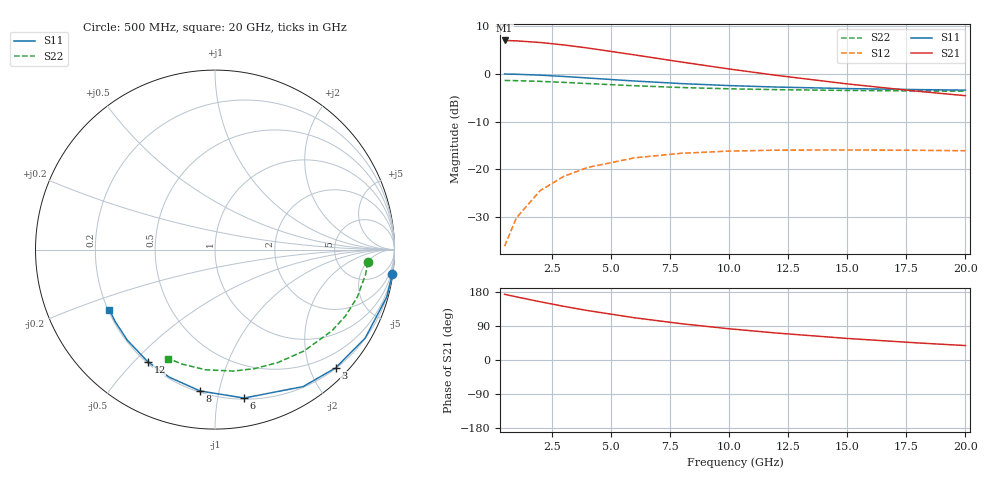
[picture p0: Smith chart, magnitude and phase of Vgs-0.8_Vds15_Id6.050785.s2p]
# Hz S RI R 50
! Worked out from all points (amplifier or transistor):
!   12 points, 500 MHz to 20 GHz, reference 50 ohm
!   highest |S21| = 7.0 dB at 500 MHz (marker M1)
!   |S21| within 3 dB of that: start of sweep to 5.967 GHz
!   unconditionally stable (mu >= 1): 14.67 GHz to end of sweep
!   at 2 GHz: K = 0.11, MSG = 15.5 dB, |S12| = -24.5 dB
!   at 8 GHz: K = 0.48, MSG = 9.5 dB, |S12| = -16.6 dB
!   at 20 GHz: K = 1.52, MAG = 1.5 dB, |S12| = -16.1 dB
!   S11 on the Smith chart (normalised r, x): 500 MHz: 0, -15; 3 GHz: 0.21, -2.43; 6 GHz: 0.21, -1.19; 8 GHz: 0.21, -0.88; 12 GHz: 0.21, -0.55; 20 GHz: 0.21, -0.25
5e8  0.9888 -0.1355  -2.227 0.2619  0.0015 0.0156  0.8513 -0.0699
1e9  0.9561 -0.2657  -2.16 0.5126  0.00589 0.0305  0.839 -0.1381
2e9  0.8368 -0.493  -1.915 0.9441  0.0218 0.0557  0.7934 -0.2635
3e9  0.6716 -0.6594  -1.58 1.248  0.0436 0.0724  0.7279 -0.3686
4e9  0.4911 -0.7631  -1.218 1.421  0.0668 0.0805  0.6521 -0.4521
6e9  0.1622 -0.8271  -0.5782 1.473  0.1072 0.0775  0.4964 -0.5646
8e9  -0.0838 -0.7874  -0.1305 1.324  0.1342 0.0618  0.3513 -0.6289
1e10  -0.2549 -0.7106  0.1485 1.117  0.1495 0.043  0.2206 -0.6631
1.2e10  -0.3733 -0.6259  0.3122 0.9148  0.1571 0.0252  0.1026 -0.6769
1.5e10  -0.4882 -0.5052  0.4294 0.6588  0.1599 0.00298  -0.0531 -0.6694
1.8e10  -0.5577 -0.3984  0.465 0.4652  0.1579 -0.014  -0.1844 -0.6376
2e10  -0.5884 -0.3347  0.4659 0.3652  0.1553 -0.023  -0.2593 -0.6069
